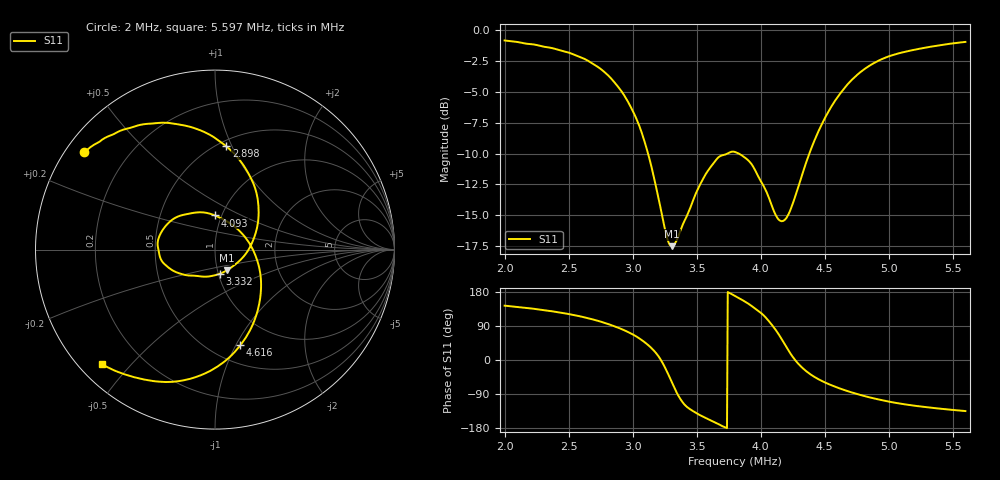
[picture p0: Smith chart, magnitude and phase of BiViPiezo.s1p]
# Hz S RI R 50
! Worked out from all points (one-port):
!   606 points, 2 MHz to 5.597 MHz, reference 50 ohm
!   lowest |S11| = -17.5 dB at 3.308 MHz (marker M1), VSWR 1.31, Z = 55.3 - j13.1 ohm
!   |S11| at or under -10 dB: 3.12 MHz to 3.741 MHz (620.9 kHz wide, 18.1 % of centre); 3.827 MHz to 4.379 MHz (551.9 kHz wide, 13.5 % of centre)
!   S11 on the Smith chart (normalised r, x): 2 MHz: 0.05, +0.33; 2.898 MHz: 0.55, +0.95; 3.332 MHz: 1.02, -0.28; 4.093 MHz: 0.93, +0.37; 4.616 MHz: 0.68, -1.04; 5.597 MHz: 0.06, -0.42
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2000000  -0.7304 0.5415
2220000  -0.6254 0.6148
2451800  -0.463 0.6809
2713446  -0.1838 0.6941
2897846  0.0626 0.5758
2903746  0.0703 0.5694
3034546  0.2103 0.3758
3117846  0.2433 0.2061
3189146  0.2151 0.0588
3260492  0.1345 -0.0643
3308092  0.0649 -0.1162
3331892  0.0274 -0.1342
3349692  -0.000369 -0.143
3421092  -0.096 -0.147
3587492  -0.246 -0.1097
3688592  -0.307 -0.0399
3801638  -0.3137 0.0648
3956138  -0.1932 0.1892
4092938  0.000211 0.19
4170238  0.106 0.1308
4253438  0.1994 0.0225
4336738  0.2487 -0.1126
4413984  0.2548 -0.243
4616184  0.142 -0.5321
4699484  0.0597 -0.6179
4901584  -0.1648 -0.7264
5151330  -0.3913 -0.7246
5597330  -0.6311 -0.6374
